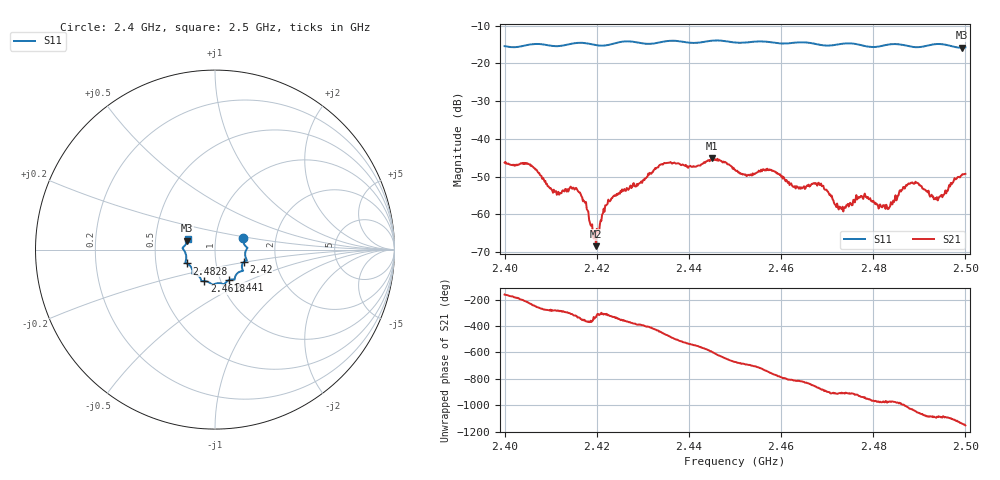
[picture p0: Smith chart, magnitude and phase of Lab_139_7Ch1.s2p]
# Hz S RI R 50
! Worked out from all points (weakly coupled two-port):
!   601 points, 2.4 GHz to 2.5 GHz, reference 50 ohm
!   highest |S21| = -45.08 dB at 2.445 GHz (marker M1); lowest = -68.4 dB at 2.4198 GHz (marker M2)
!   lowest |S11| = -15.8 dB at 2.4992 GHz (marker M3), VSWR 1.39, Z = 36.5 + j3.67 ohm
!   |S11| at or under -10 dB: start of sweep to end of sweep
!   S12 and S22 are empty: the file has one direction only
!   S11 on the Smith chart (normalised r, x): 2.4 GHz: 1.36, +0.18; 2.42 GHz: 1.36, -0.20; 2.441 GHz: 1.10, -0.39; 2.4618 GHz: 0.84, -0.30; 2.4828 GHz: 0.72, -0.11; 2.5 GHz: 0.73, +0.09
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2.4e9  0.1572 0.0631  -0.0046 -0.00155  0 0  0 0
2.405167e9  0.176 0.0138  -0.00333 0.00323  0 0  0 0
2.410833e9  0.1691 -0.0144  0.000391 0.00195  0 0  0 0
2.416667e9  0.1776 -0.0601  0.00171 0.000351  0 0  0 0
2.419833e9  0.1607 -0.0685  0.000337 0.000176  0 0  0 0
2.42e9  0.1593 -0.0696  0.000477 0.000434  0 0  0 0
2.423e9  0.1496 -0.0975  0.00123 0.000926  0 0  0 0
2.433333e9  0.1122 -0.1509  0.00115 -0.00405  0 0  0 0
2.441e9  0.0784 -0.1696  -0.00436 0.000294  0 0  0 0
2.445e9  0.0531 -0.1929  -0.00314 0.0046  0 0  0 0
2.45e9  0.0285 -0.1873  0.00265 0.00288  0 0  0 0
2.458e9  -0.0247 -0.1882  0.00292 -0.00241  0 0  0 0
2.461833e9  -0.0594 -0.1757  0.000176 -0.00244  0 0  0 0
2.466667e9  -0.0779 -0.1682  -0.00156 -0.00201  0 0  0 0
2.473e9  -0.1203 -0.135  -0.00119 0.000221  0 0  0 0
2.477833e9  -0.1261 -0.1169  -0.00127 0.000982  0 0  0 0
2.482833e9  -0.1576 -0.0773  -0.000479 0.00126  0 0  0 0
2.483333e9  -0.1609 -0.0759  -0.000319 0.00115  0 0  0 0
2.488e9  -0.1602 -0.0495  0.00149 0.00207  0 0  0 0
2.493667e9  -0.1803 0.00695  0.00153 -0.000388  0 0  0 0
2.499167e9  -0.1541 0.049  0.0018 -0.00276  0 0  0 0
2.5e9  -0.1518 0.0611  0.00105 -0.00329  0 0  0 0
